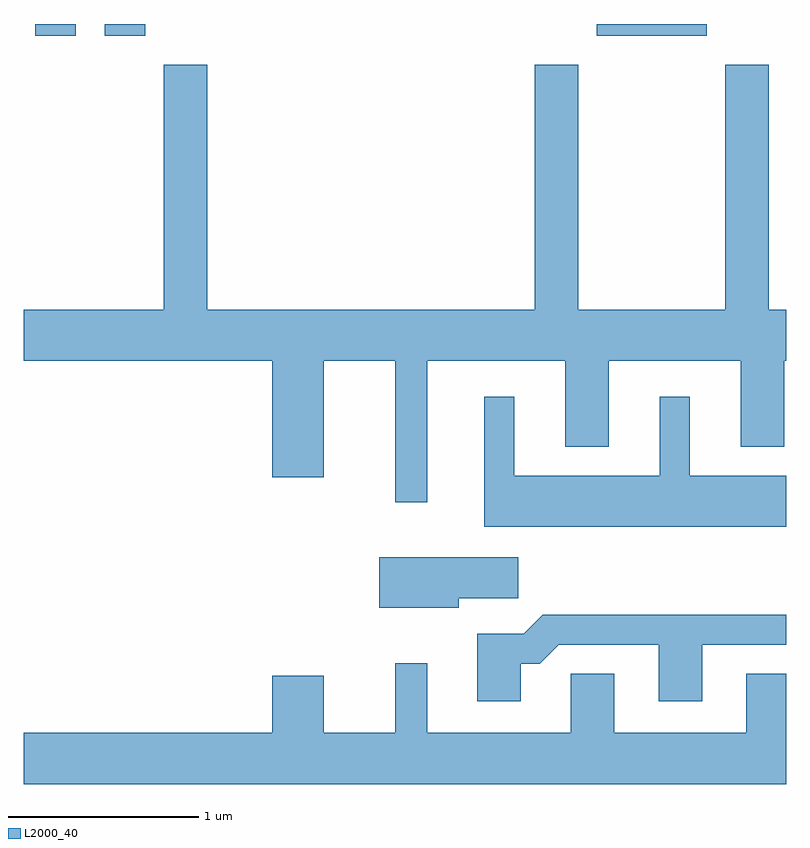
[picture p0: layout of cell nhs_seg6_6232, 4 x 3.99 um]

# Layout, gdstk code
import gdstk
lib = gdstk.Library(unit=1e-6, precision=1e-09)
def R(c, l, rs):  # rectangles x0, y0, x1, y1
    for r in rs: c.add(gdstk.rectangle(r[:2], r[2:], *l))
def P(c, l, *ps):  # polygons
    for p in ps: c.add(gdstk.Polygon(p, *l))
L2000_40 = (2000, 40)

nhs_seg6_6232 = lib.new_cell('nhs_seg6_6232')
R(nhs_seg6_6232, L2000_40, [(373.671,1636.101,373.884,1636.162), (374.036,1636.101,374.249,1636.162), (376.616,1636.101,377.194,1636.162)])
P(nhs_seg6_6232, L2000_40, [(375.729,1634.396),(376.451,1634.396),(376.451,1633.946),(376.679,1633.946),(376.679,1634.396),(377.371,1634.396),(377.371,1633.946),(377.599,1633.946),(377.599,1634.396),(377.611,1634.396),(377.611,1634.664),(377.519,1634.664),(377.519,1635.949),(377.291,1635.949),(377.291,1634.664),(376.519,1634.664),(376.519,1635.949),(376.291,1635.949),(376.291,1634.664),(374.574,1634.664),(374.574,1635.949),(374.346,1635.949),(374.346,1634.664),(373.611,1634.664),(373.611,1634.396),(374.916,1634.396),(374.916,1633.786),(375.184,1633.786),(375.184,1634.396),(375.561,1634.396),(375.561,1633.653),(375.729,1633.653)],
  [(377.611,1633.794),(377.104,1633.794),(377.104,1634.208),(376.946,1634.208),(376.946,1633.794),(376.184,1633.794),(376.184,1634.208),(376.026,1634.208),(376.026,1633.526),(377.611,1633.526)],
  [(375.894,1633.151),(376.204,1633.151),(376.204,1633.364),(375.476,1633.364),(375.476,1633.101),(375.894,1633.101)],
  [(376.219,1632.806),(376.317,1632.806),(376.417,1632.906),(376.941,1632.906),(376.941,1632.611),(377.169,1632.611),(377.169,1632.906),(377.611,1632.906),(377.611,1633.064),(376.334,1633.064),(376.234,1632.964),(375.991,1632.964),(375.991,1632.611),(376.219,1632.611)],
  [(377.611,1632.754),(377.401,1632.754),(377.401,1632.444),(376.709,1632.444),(376.709,1632.754),(376.481,1632.754),(376.481,1632.444),(375.729,1632.444),(375.729,1632.808),(375.561,1632.808),(375.561,1632.444),(375.184,1632.444),(375.184,1632.744),(374.916,1632.744),(374.916,1632.444),(373.611,1632.444),(373.611,1632.176),(377.611,1632.176)])

lib.write_gds('nhs_seg6_6232.gds')
